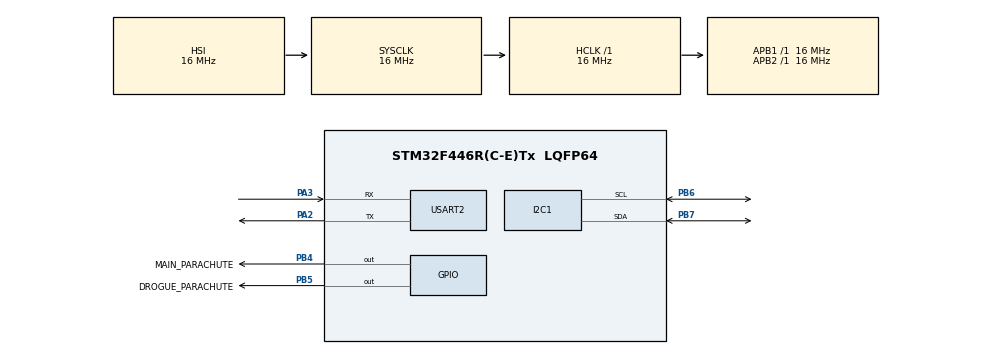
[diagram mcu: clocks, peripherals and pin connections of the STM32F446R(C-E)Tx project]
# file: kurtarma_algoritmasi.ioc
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Mcu.Family=STM32F4
Mcu.Name=STM32F446R(C-E)Tx
Mcu.Package=LQFP64
NVIC.PriorityGroup=NVIC_PRIORITYGROUP_4
NVIC.USART2_IRQn=true\:0\:0\:false\:false\:true\:true\:true\:true
PA2.Mode=Asynchronous
PA2.Signal=USART2_TX
PA3.Mode=Asynchronous
PA3.Signal=USART2_RX
PB4.GPIO_Label=MAIN_PARACHUTE
PB4.Signal=GPIO_Output
PB5.GPIO_Label=DROGUE_PARACHUTE
PB5.Signal=GPIO_Output
PB6.Mode=I2C
PB6.Signal=I2C1_SCL
PB7.Mode=I2C
PB7.Signal=I2C1_SDA
PH0-OSC_IN.Mode=HSE-External-Oscillator
PH0-OSC_IN.Signal=RCC_OSC_IN
PH1-OSC_OUT.Mode=HSE-External-Oscillator
PH1-OSC_OUT.Signal=RCC_OSC_OUT
ProjectManager.HeapSize=0x200
ProjectManager.StackSize=0x400
ProjectManager.TargetToolchain=STM32CubeIDE
RCC.AHBFreq_Value=16000000
RCC.APB1Freq_Value=16000000
RCC.APB1TimFreq_Value=16000000
RCC.APB2Freq_Value=16000000
RCC.APB2TimFreq_Value=16000000
RCC.CortexFreq_Value=16000000
RCC.HCLKFreq_Value=16000000
RCC.HSE_VALUE=8000000
RCC.PLLSourceVirtual=RCC_PLLSOURCE_HSE
RCC.SYSCLKFreq_VALUE=16000000
RCC.USBFreq_Value=48000000
RCC.VCOOutputFreq_Value=96000000
TIM6.Prescaler=16 - 1
USART2.VirtualMode=VM_ASYNC
VP_TIM6_VS_ClockSourceINT.Mode=Enable_Timer
board=custom

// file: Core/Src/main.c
/* USER CODE BEGIN Header */
/**
  ******************************************************************************
  * @file           : main.c
  * @brief          : Main program body
  ******************************************************************************
  * @attention
  *
  * Copyright (c) 2026 STMicroelectronics.
  * All rights reserved.
  *
  * This software is licensed under terms that can be found in the LICENSE file
  * in the root directory of this software component.
  * If no LICENSE file comes with this software, it is provided AS-IS.
  *
  ******************************************************************************
  */
/* USER CODE END Header */
#include "main.h"

/* USER CODE BEGIN Includes */
#include "bmp180_for_stm32_hal.h"
#include "stdio.h"
#include "math.h"
/* USER CODE END Includes */

/* USER CODE BEGIN PTD */
typedef enum {
	IDLE,
	BOOST,
	BURNOUT,
	DROGUE_DESCENT,
	MAIN_DESCENT,
	LANDED
} rocket_status;
/* USER CODE END PTD */

I2C_HandleTypeDef hi2c1;

TIM_HandleTypeDef htim6;

UART_HandleTypeDef huart2;

void SystemClock_Config(void);
static void MX_GPIO_Init(void);
static void MX_I2C1_Init(void);
static void MX_TIM6_Init(void);
static void MX_USART2_UART_Init(void);
/* USER CODE BEGIN PFP */

float CalculateAltitude(const float* temp, const uint32_t* press, const uint32_t* ground_press) //irtifa hesaplayan fonksiyon
{
	if(*press == 0) return 0; // Sıfıra bölmemek için koruma.

	float alt = (powf((*ground_press / (float)*press), 0.190263f) - 1.0f) * (*temp + 273.15f) / 0.0065f;
	return alt;
}

void DeployDrogueParachute()
{
	//İlk paraşütü açan fonksiyon
	HAL_GPIO_WritePin(DROGUE_PARACHUTE_GPIO_Port, DROGUE_PARACHUTE_Pin, 1);
}

void DeployMainParachute()
{
	//İkinci paraşütü açan fonksiyon
	HAL_GPIO_WritePin(MAIN_PARACHUTE_GPIO_Port, MAIN_PARACHUTE_Pin, 1);
}

void DetermineGroundPressure(uint32_t* ground_press, uint32_t counter) //Referans basıncını almak için fonksiyon
{
	uint32_t press = 0;
	uint32_t sum = 0;
	float temp = 0.0f; //temp değerini kullanmıyoruz ama UpdateSensorData() fonksiyonunu nullptr ile çalışacak şekilde güncellemeye üşendim.

	for(int i=0; i<counter; i++)
	{
		UpdateSensorData(&temp, &press);
		sum += press;
		HAL_Delay(15); //Sensör verisi 13.5 ms'de bir güncelleniyor ve bunun için bekliyoruz.
	}

	*ground_press = (uint32_t)sum / counter;
}

float GetDerivative(const float* current_value, const uint32_t* current_time_ms, const float* prev_value, const uint32_t* prev_time_ms) //İRtifadan hıza, hızdan ivmeye geçmek için türev hesaplama fonksiyonu
{
	float delta_time = (*current_time_ms - *prev_time_ms) / 1000.0f; //iki sensör verisinin alındığı zaman arasındaki fark
	float delta_value = *current_value - *prev_value; //iki sensör verisi arasındaki fark

	if (delta_time <= 0.0) return 0.0f; // Sıfıra bölmemek veya delta_time'dan kaynaklanan bir hatayla negatif hız değeri almamak için koruma..

	return delta_value/delta_time;
}

float LowPassFilter(const float* raw, const float* prev, float lpf_coef) //Filtre fonksiyonu
{
	return (lpf_coef*(*raw) + (1-lpf_coef)*(*prev));
}

void UpdateSensorData(float* temp, uint32_t* press) //sensör verilerine göre değişkenleri güncelleme fonksiyonu
{
	*temp = BMP180_GetTemperature();
	*press = BMP180_GetPressure();
}

/* USER CODE END PFP */

/* USER CODE BEGIN 0 */

char msg[128];

float acceleration = 0.0f;
float altitude = 0.0f;
float raw_altitude = 0.0f;
float temperature = 0.0f;
float velocity = 0.0f;
float previous_altitude = 0.0f;
float previous_velocity = 0.0f;

uint32_t current_time_ms = 0;
uint32_t ground_pressure = 0;
uint32_t pressure = 0;
uint32_t previous_ms = 0;

uint16_t counter = 0;

uint8_t len = 0;

rocket_status current_status = IDLE;

/* USER CODE END 0 */

int main(void)
{

  /* MCU Configuration--------------------------------------------------------*/

  /* Reset of all peripherals, Initializes the Flash interface and the Systick. */
  HAL_Init();

  /* Configure the system clock */
  SystemClock_Config();

  /* Initialize all configured peripherals */
  MX_GPIO_Init();
  MX_I2C1_Init();
  MX_TIM6_Init();
  MX_USART2_UART_Init();
  /* USER CODE BEGIN 2 */
  BMP180_Init(&hi2c1);
  BMP180_SetOversampling(BMP180_HIGH);
  BMP180_UpdateCalibrationData();

  HAL_Delay(100); //Sensörün kalibre olması için bekliyoruz.
  DetermineGroundPressure(&ground_pressure, 20); //Referans basıncını hesaplamak için 20 ölçümün ortalamasını alıyoruz.

  /* USER CODE END 2 */

  /* Infinite loop */
  while (1)
  {

    /* USER CODE BEGIN 3 */
	  UpdateSensorData(&temperature, &pressure); //sensör verisi ile değişkenleri güncelliyoruz.
	  current_time_ms = HAL_GetTick(); //değişkenlerin güncellendiği anı alıyoruz. Direkt UpdateSensorData() fonksiyonunda belirlemeyi düşündüm ama fonksiyonun esnek kalmasını istedim.
	  raw_altitude = CalculateAltitude(&temperature, &pressure, &ground_pressure); //ham irtifa verisi hesaplama.
	  altitude = LowPassFilter(&raw_altitude, &previous_altitude, 0.2); //irtifa verisini filtreden geçiriyoruz.
	  velocity = GetDerivative(&altitude, &current_time_ms, &previous_altitude, &previous_ms); //irtifanın türeviyle hız hesaplama.
	  acceleration = GetDerivative(&velocity, &current_time_ms, &previous_velocity, &previous_ms); //hızın türeviyle ivme hesaplama.

//	  len = sprintf(msg, "Hiz: %.2f   |   Irtifa: %.2f   |   Basinc: %d\n", velocity, altitude, pressure);
//	  HAL_UART_Transmit(&huart2, (uint8_t*)msg, len, 100);

	  switch (current_status) //mevcut aşamaya bağlı istenilen satıra atlar.
	  {
	  case IDLE: //roketin rampada olduğu an.
		  if(altitude > 100.0f && velocity > 1.0f) //100 metre yükselmiş ve hız 1 m/s olmuşsa sonraki aşamaya geç.
			  current_status = BOOST;
		  else break;

	  case BOOST:
		  if(acceleration < -9.6f) // İvme yerçekimi ivmesine eşitlenirse roketin yakıtı bitmiş demektir (0.21f hata payı)
		  {
			  counter += 1;
			  if (counter < 5) break;
			  else
			  {
				  counter = 0;
				  current_status = BURNOUT;
			  }
		  }

		  else
		  {
			  counter = 0;
			  break;
		  }

	  case BURNOUT:
		  if(velocity < 0.0f) // Hız aşağı yönlüyse roket düşüyordur. Sürüklenme paraşütünü aç.
		  {
			  counter += 1;
			  if (counter < 5) break;
			  else
			  {
				  counter = 0;
				  DeployDrogueParachute();
				  current_status = DROGUE_DESCENT;
			  }
		  }

		  else
		  {
			  counter = 0;
			  break;
		  }

	  case DROGUE_DESCENT:
		  if (altitude < MAIN_DEPLOY_ALTITUDE) // Roket ana paraşüt ateşlenmesi için belirlenen irtifanın altındaysa ana paraşütü aç.
		  {
			  counter += 1;
			  if (counter < 5) break;
			  else
			  {
				  counter = 0;
				  DeployMainParachute();
				  current_status = MAIN_DESCENT;
			  }
		  }

		  else
		  {
			  counter = 0;
			  break;
		  }

	  case MAIN_DESCENT:
		  if (!(velocity < -1.0f || velocity > 1.0f) && altitude < 100.0f) // Hız 0 ve irtifa 10'un altındaysa roket yere düşmüştür.
		  {
			  counter += 1;

			  if (counter < 5) break;
			  else
			  {
				  counter = 0;
				  current_status = LANDED;
			  }
		  }

		  break;

	  case LANDED:
		  //buzzer togglepin

	  default:

	  }

	  //Kullanılan değerlerin daha sonra türev almak için kaydedilmesi.
	  previous_altitude = altitude;
	  previous_ms = current_time_ms;
	  previous_velocity = velocity;

	  HAL_Delay(50);
  }
  /* USER CODE END 3 */
}

void SystemClock_Config(void)
{
  RCC_OscInitTypeDef RCC_OscInitStruct = {0};
  RCC_ClkInitTypeDef RCC_ClkInitStruct = {0};

  /** Configure the main internal regulator output voltage
  */
  __HAL_RCC_PWR_CLK_ENABLE();
  __HAL_PWR_VOLTAGESCALING_CONFIG(PWR_REGULATOR_VOLTAGE_SCALE3);

  /** Initializes the RCC Oscillators according to the specified parameters
  * in the RCC_OscInitTypeDef structure.
  */
  RCC_OscInitStruct.OscillatorType = RCC_OSCILLATORTYPE_HSI;
  RCC_OscInitStruct.HSIState = RCC_HSI_ON;
  RCC_OscInitStruct.HSICalibrationValue = RCC_HSICALIBRATION_DEFAULT;
  RCC_OscInitStruct.PLL.PLLState = RCC_PLL_NONE;
  if (HAL_RCC_OscConfig(&RCC_OscInitStruct) != HAL_OK)
  {
    Error_Handler();
  }

  /** Initializes the CPU, AHB and APB buses clocks
  */
  RCC_ClkInitStruct.ClockType = RCC_CLOCKTYPE_HCLK|RCC_CLOCKTYPE_SYSCLK
                              |RCC_CLOCKTYPE_PCLK1|RCC_CLOCKTYPE_PCLK2;
  RCC_ClkInitStruct.SYSCLKSource = RCC_SYSCLKSOURCE_HSI;
  RCC_ClkInitStruct.AHBCLKDivider = RCC_SYSCLK_DIV1;
  RCC_ClkInitStruct.APB1CLKDivider = RCC_HCLK_DIV1;
  RCC_ClkInitStruct.APB2CLKDivider = RCC_HCLK_DIV1;

  if (HAL_RCC_ClockConfig(&RCC_ClkInitStruct, FLASH_LATENCY_0) != HAL_OK)
  {
    Error_Handler();
  }
}

static void MX_I2C1_Init(void)
{

  hi2c1.Instance = I2C1;
  hi2c1.Init.ClockSpeed = 100000;
  hi2c1.Init.DutyCycle = I2C_DUTYCYCLE_2;
  hi2c1.Init.OwnAddress1 = 0;
  hi2c1.Init.AddressingMode = I2C_ADDRESSINGMODE_7BIT;
  hi2c1.Init.DualAddressMode = I2C_DUALADDRESS_DISABLE;
  hi2c1.Init.OwnAddress2 = 0;
  hi2c1.Init.GeneralCallMode = I2C_GENERALCALL_DISABLE;
  hi2c1.Init.NoStretchMode = I2C_NOSTRETCH_DISABLE;
  if (HAL_I2C_Init(&hi2c1) != HAL_OK)
  {
    Error_Handler();
  }

}

static void MX_TIM6_Init(void)
{

  TIM_MasterConfigTypeDef sMasterConfig = {0};

  htim6.Instance = TIM6;
  htim6.Init.Prescaler = 16 - 1;
  htim6.Init.CounterMode = TIM_COUNTERMODE_UP;
  htim6.Init.Period = 65535;
  htim6.Init.AutoReloadPreload = TIM_AUTORELOAD_PRELOAD_DISABLE;
  if (HAL_TIM_Base_Init(&htim6) != HAL_OK)
  {
    Error_Handler();
  }
  sMasterConfig.MasterOutputTrigger = TIM_TRGO_RESET;
  sMasterConfig.MasterSlaveMode = TIM_MASTERSLAVEMODE_DISABLE;
  if (HAL_TIMEx_MasterConfigSynchronization(&htim6, &sMasterConfig) != HAL_OK)
  {
    Error_Handler();
  }

}

static void MX_USART2_UART_Init(void)
{

  huart2.Instance = USART2;
  huart2.Init.BaudRate = 115200;
  huart2.Init.WordLength = UART_WORDLENGTH_8B;
  huart2.Init.StopBits = UART_STOPBITS_1;
  huart2.Init.Parity = UART_PARITY_NONE;
  huart2.Init.Mode = UART_MODE_TX_RX;
  huart2.Init.HwFlowCtl = UART_HWCONTROL_NONE;
  huart2.Init.OverSampling = UART_OVERSAMPLING_16;
  if (HAL_UART_Init(&huart2) != HAL_OK)
  {
    Error_Handler();
  }

}

static void MX_GPIO_Init(void)
{
  GPIO_InitTypeDef GPIO_InitStruct = {0};

  /* GPIO Ports Clock Enable */
  __HAL_RCC_GPIOH_CLK_ENABLE();
  __HAL_RCC_GPIOA_CLK_ENABLE();
  __HAL_RCC_GPIOB_CLK_ENABLE();

  /*Configure GPIO pin Output Level */
  HAL_GPIO_WritePin(GPIOB, MAIN_PARACHUTE_Pin|DROGUE_PARACHUTE_Pin, GPIO_PIN_RESET);

  /*Configure GPIO pins : MAIN_PARACHUTE_Pin DROGUE_PARACHUTE_Pin */
  GPIO_InitStruct.Pin = MAIN_PARACHUTE_Pin|DROGUE_PARACHUTE_Pin;
  GPIO_InitStruct.Mode = GPIO_MODE_OUTPUT_PP;
  GPIO_InitStruct.Pull = GPIO_NOPULL;
  GPIO_InitStruct.Speed = GPIO_SPEED_FREQ_LOW;
  HAL_GPIO_Init(GPIOB, &GPIO_InitStruct);

}

void Error_Handler(void)
{
  __disable_irq();
  while (1)
  {
  }
}
